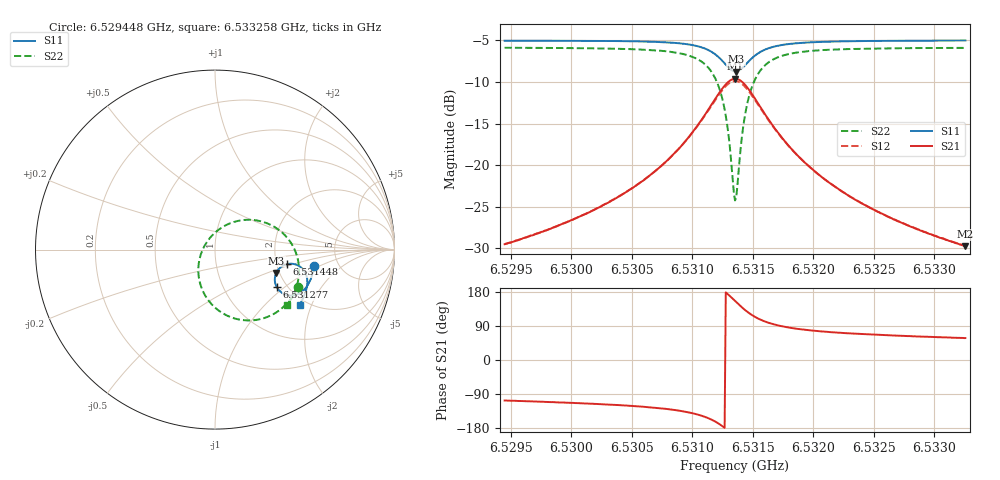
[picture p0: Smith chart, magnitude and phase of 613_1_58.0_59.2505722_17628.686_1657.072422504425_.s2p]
#  HZ  S  RI  R  50.00
! Rohde & Schwarz Vector Network Analyzer
! Rohde-Schwarz,ZNB20-2Port,1311601062101988,3.16
! Created: UTC 3/21/2024, 1:17:48 AM
! freq[Hz]  re:S11  im:S11  re:S21  im:S21  re:S12  im:S12  re:S22  im:S22
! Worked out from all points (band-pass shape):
!   401 points, 6.529448 GHz to 6.533258 GHz, reference 50 ohm
!   highest |S21| = -9.60 dB at 6.531353 GHz (marker M1); lowest = -29.7 dB at 6.533258 GHz (marker M2)
!   |S21| within 3 dB of the highest: 6.531164 GHz to 6.531545 GHz (380.4 kHz wide, 0.00582 % of centre)
!   lowest |S11| = -8.8 dB at 6.531363 GHz (marker M3), VSWR 2.15, Z = 96 - j28.9 ohm
!   |S11| at or under -10 dB: nowhere
!   |S22| runs from -24.2 to -5.9 dB; largest |S21 - S12| = 0.014
!   S11 on the Smith chart (normalised r, x): 6.529448 GHz: 3.30, -0.87; 6.531277 GHz: 1.77, -0.88; 6.531448 GHz: 2.27, -0.44; 6.533258 GHz: 1.83, -1.64
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6.5294481e9  0.5532 -0.0904  -0.00972 -0.032  -0.0105 -0.0318  0.4637 -0.2074
6.5300862e9  0.5404 -0.1441  -0.0205 -0.0453  -0.0215 -0.045  0.4285 -0.2669
6.5304386e9  0.5277 -0.1777  -0.0339 -0.0588  -0.0355 -0.058  0.3931 -0.3085
6.5307244e9  0.5089 -0.2095  -0.0579 -0.0769  -0.0601 -0.0751  0.3388 -0.3517
6.530953e9  0.4775 -0.2395  -0.1044 -0.0967  -0.1072 -0.0928  0.2461 -0.3889
6.5311149e9  0.4283 -0.2557  -0.1809 -0.0988  -0.1828 -0.0909  0.1069 -0.3831
6.5312102e9  0.379 -0.2445  -0.2563 -0.0623  -0.2539 -0.0513  -0.0161 -0.3072
6.5312768e9  0.3439 -0.209  -0.3062 0.00908  -0.2978 0.0193  -0.0856 -0.1784
6.5313054e9  0.3351 -0.185  -0.3157 0.0533  -0.305 0.0617  -0.093 -0.1038
6.531334e9  0.3337 -0.1577  -0.3128 0.1023  -0.3004 0.1073  -0.0784 -0.0248
6.531353e9  0.3376 -0.1394  -0.3026 0.1341  -0.2898 0.137  -0.056 0.0252
6.5313626e9  0.341 -0.1306  -0.295 0.1493  -0.2824 0.1511  -0.041 0.0485
6.5313721e9  0.3454 -0.1223  -0.2861 0.1635  -0.2738 0.1642  -0.024 0.0701
6.5314197e9  0.3769 -0.0907  -0.2264 0.2165  -0.2171 0.2132  0.0826 0.1461
6.5314483e9  0.3995 -0.0813  -0.1861 0.2317  -0.1788 0.2275  0.1517 0.1639
6.5315149e9  0.4463 -0.0821  -0.1046 0.2309  -0.1011 0.2271  0.2874 0.1477
6.5316102e9  0.4868 -0.1063  -0.036 0.1944  -0.0343 0.1926  0.3978 0.0713
6.5317531e9  0.5095 -0.1447  0.00412 0.1427  0.00545 0.1418  0.4558 -0.0324
6.5319912e9  0.5146 -0.1893  0.0202 0.0924  0.0213 0.0921  0.4677 -0.1356
6.5322865e9  0.5078 -0.2261  0.022 0.0621  0.023 0.0619  0.455 -0.2044
6.5326293e9  0.496 -0.2587  0.0204 0.044  0.0212 0.0437  0.4356 -0.2533
6.533258e9  0.4709 -0.3069  0.0173 0.0276  0.018 0.0273  0.4005 -0.3112
